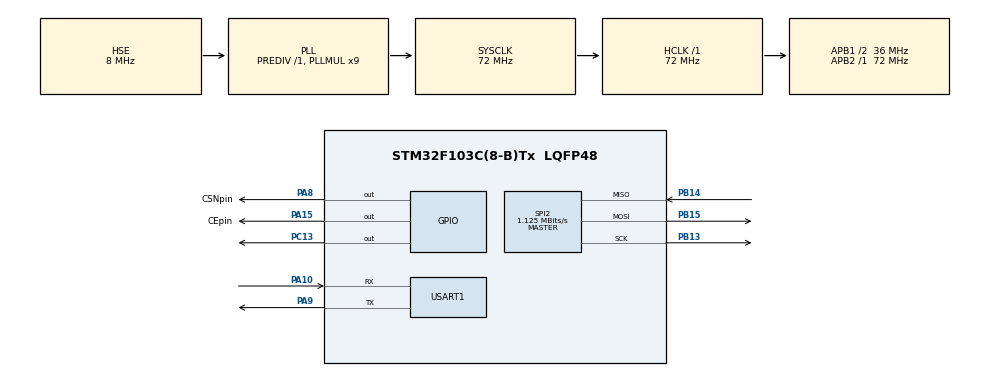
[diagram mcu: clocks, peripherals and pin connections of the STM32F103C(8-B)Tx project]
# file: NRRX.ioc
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Mcu.Family=STM32F1
Mcu.Name=STM32F103C(8-B)Tx
Mcu.Package=LQFP48
NVIC.PriorityGroup=NVIC_PRIORITYGROUP_4
PA10.Mode=Asynchronous
PA10.Signal=USART1_RX
PA13.Mode=Serial_Wire
PA13.Signal=SYS_JTMS-SWDIO
PA14.Mode=Serial_Wire
PA14.Signal=SYS_JTCK-SWCLK
PA15.GPIO_Label=CEpin
PA15.Signal=GPIO_Output
PA8.GPIO_Label=CSNpin
PA8.Signal=GPIO_Output
PA9.Mode=Asynchronous
PA9.Signal=USART1_TX
PB13.Mode=Full_Duplex_Master
PB13.Signal=SPI2_SCK
PB14.Mode=Full_Duplex_Master
PB14.Signal=SPI2_MISO
PB15.Mode=Full_Duplex_Master
PB15.Signal=SPI2_MOSI
PC13-TAMPER-RTC.Signal=GPIO_Output
PD0-OSC_IN.Mode=HSE-External-Oscillator
PD0-OSC_IN.Signal=RCC_OSC_IN
PD1-OSC_OUT.Mode=HSE-External-Oscillator
PD1-OSC_OUT.Signal=RCC_OSC_OUT
ProjectManager.HeapSize=0x200
ProjectManager.StackSize=0x400
ProjectManager.TargetToolchain=MDK-ARM V5.32
RCC.AHBFreq_Value=72000000
RCC.APB1CLKDivider=RCC_HCLK_DIV2
RCC.APB1Freq_Value=36000000
RCC.APB1TimFreq_Value=72000000
RCC.APB2Freq_Value=72000000
RCC.APB2TimFreq_Value=72000000
RCC.HCLKFreq_Value=72000000
RCC.PLLMUL=RCC_PLL_MUL9
RCC.PLLSourceVirtual=RCC_PLLSOURCE_HSE
RCC.SYSCLKFreq_VALUE=72000000
RCC.SYSCLKSource=RCC_SYSCLKSOURCE_PLLCLK
RCC.USBFreq_Value=72000000
SPI2.BaudRatePrescaler=SPI_BAUDRATEPRESCALER_32
SPI2.CalculateBaudRate=1.125 MBits/s
SPI2.Direction=SPI_DIRECTION_2LINES
SPI2.Mode=SPI_MODE_MASTER
SPI2.VirtualType=VM_MASTER
USART1.VirtualMode=VM_ASYNC
board=custom

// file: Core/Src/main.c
/* USER CODE BEGIN Header */
/**
  ******************************************************************************
  * @file           : main.c
  * @brief          : Main program body
  ******************************************************************************
  * @attention
  *
  * <h2><center>&copy; Copyright (c) 2021 STMicroelectronics.
  * All rights reserved.</center></h2>
  *
  * This software component is licensed by ST under BSD 3-Clause license,
  * the "License"; You may not use this file except in compliance with the
  * License. You may obtain a copy of the License at:
  *                        opensource.org/licenses/BSD-3-Clause
  *
  ******************************************************************************
  */
/* USER CODE END Header */
#include "main.h"

/* USER CODE BEGIN Includes */
#include "MY_NRF24.h"
#include "stdio.h"
/* USER CODE END Includes */

SPI_HandleTypeDef hspi2;

UART_HandleTypeDef huart1;

void SystemClock_Config(void);
static void MX_GPIO_Init(void);
static void MX_SPI2_Init(void);
static void MX_USART1_UART_Init(void);

/* USER CODE BEGIN 0 */
uint64_t RxpipeAddrs = 0x11223344AA;
char myRxData[50];
char myAckPayload[32] = "Ack by STMF7!";
/* USER CODE END 0 */

int main(void)
{

  /* MCU Configuration--------------------------------------------------------*/

  /* Reset of all peripherals, Initializes the Flash interface and the Systick. */
  HAL_Init();

  /* Configure the system clock */
  SystemClock_Config();

  /* Initialize all configured peripherals */
  MX_GPIO_Init();
  MX_SPI2_Init();
  MX_USART1_UART_Init();
  /* USER CODE BEGIN 2 */

//NRF24_begin(GPIOA, GPIO_PIN_8, GPIO_PIN_15, hspi2);
NRF24_begin(GPIOA, CSNpin_Pin, CEpin_Pin, hspi2);
	nrf24_DebugUART_Init(huart1);

	//printRadioSettings();

	//**** TRANSMIT - ACK ****//

	NRF24_startListening();
	NRF24_openReadingPipe(1, RxpipeAddrs);

	NRF24_setAutoAck(true);
	NRF24_setChannel(52);
	NRF24_setPayloadSize(32);

	NRF24_enableDynamicPayloads();
	NRF24_enableAckPayload();

  /* USER CODE END 2 */

  /* Infinite loop */
  /* USER CODE BEGIN WHILE */
  while (1)
  {
		if(NRF24_available()){
		NRF24_read(myRxData, 32);
		if(myRxData[0]==0){
		HAL_GPIO_WritePin(GPIOC,GPIO_PIN_13,1);

		}

		if(myRxData[0]==1){
		HAL_GPIO_WritePin(GPIOC,GPIO_PIN_13,0);

		}

		}

    /* USER CODE END WHILE */

	}
}
void SystemClock_Config(void)
{
  RCC_OscInitTypeDef RCC_OscInitStruct = {0};
  RCC_ClkInitTypeDef RCC_ClkInitStruct = {0};

  /** Initializes the RCC Oscillators according to the specified parameters
  * in the RCC_OscInitTypeDef structure.
  */
  RCC_OscInitStruct.OscillatorType = RCC_OSCILLATORTYPE_HSE;
  RCC_OscInitStruct.HSEState = RCC_HSE_ON;
  RCC_OscInitStruct.HSEPredivValue = RCC_HSE_PREDIV_DIV1;
  RCC_OscInitStruct.HSIState = RCC_HSI_ON;
  RCC_OscInitStruct.PLL.PLLState = RCC_PLL_ON;
  RCC_OscInitStruct.PLL.PLLSource = RCC_PLLSOURCE_HSE;
  RCC_OscInitStruct.PLL.PLLMUL = RCC_PLL_MUL9;
  if (HAL_RCC_OscConfig(&RCC_OscInitStruct) != HAL_OK)
  {
    Error_Handler();
  }
  /** Initializes the CPU, AHB and APB buses clocks
  */
  RCC_ClkInitStruct.ClockType = RCC_CLOCKTYPE_HCLK|RCC_CLOCKTYPE_SYSCLK
                              |RCC_CLOCKTYPE_PCLK1|RCC_CLOCKTYPE_PCLK2;
  RCC_ClkInitStruct.SYSCLKSource = RCC_SYSCLKSOURCE_PLLCLK;
  RCC_ClkInitStruct.AHBCLKDivider = RCC_SYSCLK_DIV1;
  RCC_ClkInitStruct.APB1CLKDivider = RCC_HCLK_DIV2;
  RCC_ClkInitStruct.APB2CLKDivider = RCC_HCLK_DIV1;

  if (HAL_RCC_ClockConfig(&RCC_ClkInitStruct, FLASH_LATENCY_2) != HAL_OK)
  {
    Error_Handler();
  }
}

static void MX_SPI2_Init(void)
{

  /* SPI2 parameter configuration*/
  hspi2.Instance = SPI2;
  hspi2.Init.Mode = SPI_MODE_MASTER;
  hspi2.Init.Direction = SPI_DIRECTION_2LINES;
  hspi2.Init.DataSize = SPI_DATASIZE_8BIT;
  hspi2.Init.CLKPolarity = SPI_POLARITY_LOW;
  hspi2.Init.CLKPhase = SPI_PHASE_1EDGE;
  hspi2.Init.NSS = SPI_NSS_SOFT;
  hspi2.Init.BaudRatePrescaler = SPI_BAUDRATEPRESCALER_32;
  hspi2.Init.FirstBit = SPI_FIRSTBIT_MSB;
  hspi2.Init.TIMode = SPI_TIMODE_DISABLE;
  hspi2.Init.CRCCalculation = SPI_CRCCALCULATION_DISABLE;
  hspi2.Init.CRCPolynomial = 10;
  if (HAL_SPI_Init(&hspi2) != HAL_OK)
  {
    Error_Handler();
  }

}

static void MX_USART1_UART_Init(void)
{

  huart1.Instance = USART1;
  huart1.Init.BaudRate = 115200;
  huart1.Init.WordLength = UART_WORDLENGTH_8B;
  huart1.Init.StopBits = UART_STOPBITS_1;
  huart1.Init.Parity = UART_PARITY_NONE;
  huart1.Init.Mode = UART_MODE_TX_RX;
  huart1.Init.HwFlowCtl = UART_HWCONTROL_NONE;
  huart1.Init.OverSampling = UART_OVERSAMPLING_16;
  if (HAL_UART_Init(&huart1) != HAL_OK)
  {
    Error_Handler();
  }

}

static void MX_GPIO_Init(void)
{
  GPIO_InitTypeDef GPIO_InitStruct = {0};

  /* GPIO Ports Clock Enable */
  __HAL_RCC_GPIOC_CLK_ENABLE();
  __HAL_RCC_GPIOD_CLK_ENABLE();
  __HAL_RCC_GPIOB_CLK_ENABLE();
  __HAL_RCC_GPIOA_CLK_ENABLE();

  /*Configure GPIO pin Output Level */
  HAL_GPIO_WritePin(GPIOC, GPIO_PIN_13, GPIO_PIN_RESET);

  /*Configure GPIO pin Output Level */
  HAL_GPIO_WritePin(GPIOA, CSNpin_Pin|CEpin_Pin, GPIO_PIN_RESET);

  /*Configure GPIO pin : PC13 */
  GPIO_InitStruct.Pin = GPIO_PIN_13;
  GPIO_InitStruct.Mode = GPIO_MODE_OUTPUT_PP;
  GPIO_InitStruct.Pull = GPIO_NOPULL;
  GPIO_InitStruct.Speed = GPIO_SPEED_FREQ_LOW;
  HAL_GPIO_Init(GPIOC, &GPIO_InitStruct);

  /*Configure GPIO pins : CSNpin_Pin CEpin_Pin */
  GPIO_InitStruct.Pin = CSNpin_Pin|CEpin_Pin;
  GPIO_InitStruct.Mode = GPIO_MODE_OUTPUT_PP;
  GPIO_InitStruct.Pull = GPIO_NOPULL;
  GPIO_InitStruct.Speed = GPIO_SPEED_FREQ_LOW;
  HAL_GPIO_Init(GPIOA, &GPIO_InitStruct);

}

void Error_Handler(void)
{
}
